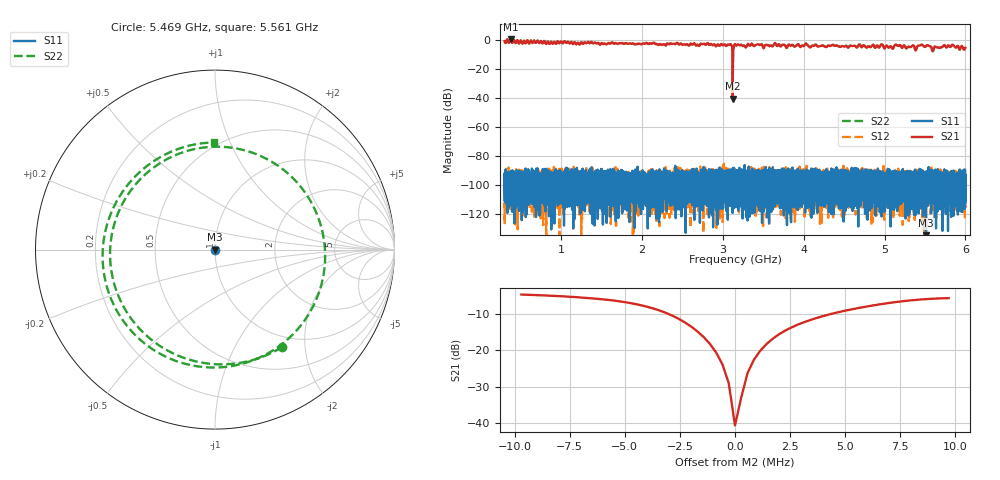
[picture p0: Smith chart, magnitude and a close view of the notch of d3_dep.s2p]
!Agilent Technologies,N5230C,SG49000117,A.08.50.07
!Agilent N5230C: A.08.50.07
!Date: Sunday, March 17, 2024 07:23:11
!Correction: S11(Off)
!S21(Off)
!S12(Off)
!S22(Off)
!S2P File: Measurements: S11, S21, S12, S22:
# Hz S  RI  R 50
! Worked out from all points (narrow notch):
!   20001 points, 300 MHz to 6 GHz, reference 50 ohm
!   highest |S21| = 0.47 dB at 374.1 MHz (marker M1); lowest = -40.7 dB at 3.122 GHz (marker M2)
!   notch at M2: 37.2 dB deep, 1.64 MHz wide at half that depth
!   lowest |S11| = -137.1 dB at 5.513 GHz (marker M3), VSWR 1.00, Z = 50 + j4.65e-06 ohm
!   |S11| at or under -10 dB: start of sweep to end of sweep
!   |S22| runs from -40.2 to 0.5 dB; largest |S21 - S12| = 1.1
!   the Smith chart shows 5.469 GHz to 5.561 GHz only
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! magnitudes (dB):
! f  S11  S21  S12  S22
! 300 MHz  -94.3  -0.9  -104.7  -0.9
! 374.1 MHz  -103.6  0.5  -91.1  0.5
! 1.25 GHz  -97.6  -1.7  -96.2  -1.7
! 2.2 GHz  -96.4  -3.5  -97.8  -3.5
! 3.08 GHz  -98.9  -3.4  -98.0  -3.4
! 3.1 GHz  -95.0  -3.2  -101.8  -3.2
! 3.122 GHz  -94.8  -40.7  -108.0  -40.2
! 3.15 GHz  -96.4  -3.0  -92.9  -3.0
! 3.17 GHz  -97.2  -3.9  -97.1  -3.9
! 3.268 GHz  -93.9  -4.3  -97.6  -4.2
! 3.657 GHz  -109.9  -3.1  -98.4  -3.0
! 3.975 GHz  -96.0  -4.1  -98.6  -4.1
! 4.032 GHz  -97.8  -2.8  -99.8  -2.7
! 4.1 GHz  -97.3  -4.2  -94.8  -4.1
! 5.05 GHz  -98.5  -5.4  -95.8  -5.4
! 5.157 GHz  -113.1  -4.0  -96.9  -4.0
! 5.39 GHz  -107.2  -6.8  -94.5  -6.8
! 5.439 GHz  -94.9  -3.9  -101.3  -3.9
! 5.513 GHz  -137.1  -4.3  -96.0  -4.3
! 5.59 GHz  -89.8  -7.2  -100.2  -7.3
! 5.841 GHz  -106.8  -3.5  -95.9  -3.5
! 6 GHz  -112.2  -5.6  -95.8  -5.6
